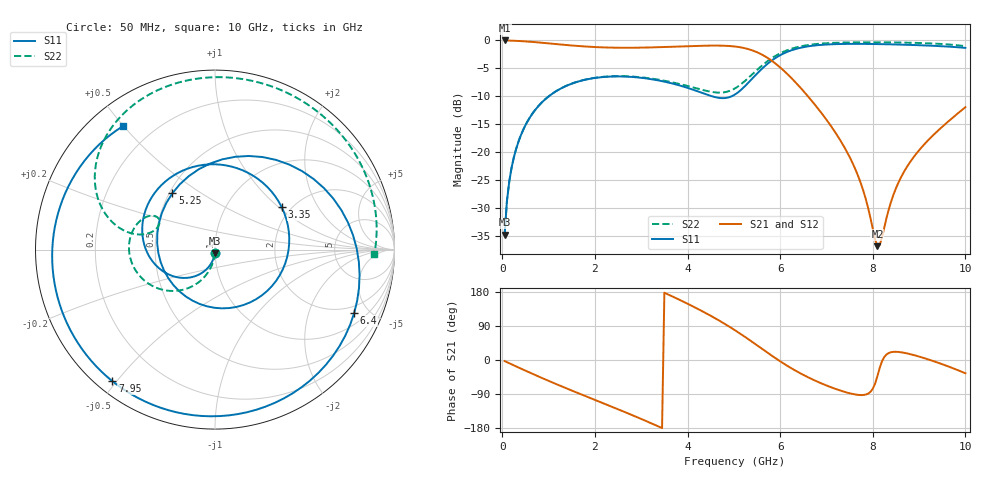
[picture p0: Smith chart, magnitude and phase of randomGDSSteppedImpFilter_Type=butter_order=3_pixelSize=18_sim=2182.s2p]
! freq	dB(S11)	phase(S11)	dB(S12)	phase(S12)
!  dB(S21)	phase(S21)	dB(S22)	phase(S22)
!S-par simulation data
#  GHz  S  DB  R 50
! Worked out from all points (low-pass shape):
!   200 points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, 50 MHz to 10 GHz, reference 50 ohm
!   highest |S21| = -0.01 dB at 50 MHz (marker M1); lowest = -36.8 dB at 8.1 GHz (marker M2)
!   |S21| within 3 dB of the highest: start of sweep to 5.705 GHz
!   lowest |S11| = -34.7 dB at 50 MHz (marker M3), VSWR 1.04, Z = 49.9 - j1.82 ohm
!   |S11| at or under -10 dB: start of sweep to 1.003 GHz; 4.534 GHz to 4.95 GHz (416.1 MHz wide, 8.77 % of centre)
!   |S22| runs from -34.7 to -0.3 dB; largest |S21 - S12| = 0
!   S11 on the Smith chart (normalised r, x): 50 MHz: 1.00, -0.04; 3.35 GHz: 1.79, +1.05; 5.25 GHz: 0.52, +0.39; 6.4 GHz: 1.57, -4.04; 7.95 GHz: 0.05, -0.49; 10 GHz: 0.10, +0.50
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0.05  -34.74 -93.4  -0.01 -2.9  -0.01 -2.9  -34.73 -92.2
0.2  -22.80 -104.1  -0.04 -11.4  -0.04 -11.4  -22.79 -99.3
0.5  -15.17 -124.6  -0.17 -28.1  -0.17 -28.1  -15.15 -112.7
1.1  -9.42 -164.4  -0.61 -60.2  -0.61 -60.2  -9.39 -137.3
1.75  -7.11 153.0  -1.06 -93.0  -1.06 -93.0  -7.08 -160.2
2.6  -6.45 93.8  -1.31 -135.1  -1.31 -135.1  -6.39 175.3
3.35  -7.12 32.4  -1.22 -174.2  -1.22 -174.2  -6.98 159.2
3.4  -7.20 27.9  -1.21 -177.0  -1.21 -177.0  -7.05 158.3
3.85  -8.10 -16.4  -1.08 157.5  -1.08 157.5  -7.83 152.3
4.35  -9.49 -76.3  -0.95 126.7  -0.95 126.7  -8.90 151.2
5.05  -9.53 164.3  -1.12 76.5  -1.12 76.5  -8.45 165.9
5.25  -8.10 127.1  -1.42 60.2  -1.42 60.2  -7.18 168.9
5.75  -4.03 48.9  -3.24 17.3  -3.24 17.3  -3.57 160.5
6.1  -2.23 5.9  -5.57 -11.2  -5.57 -11.2  -1.92 146.5
6.4  -1.39 -24.5  -8.10 -32.8  -8.10 -32.8  -1.14 133.5
6.7  -0.95 -50.1  -10.98 -51.3  -10.98 -51.3  -0.72 121.2
7.25  -0.65 -88.4  -17.21 -78.6  -17.21 -78.6  -0.40 100.3
7.95  -0.63 -127.9  -31.76 -84.1  -31.76 -84.1  -0.33 75.7
8.1  -0.65 -135.7  -36.80 -42.6  -36.80 -42.6  -0.33 70.5
8.35  -0.69 -148.3  -30.09 18.7  -30.09 18.7  -0.35 61.9
9.2  -0.92 169.4  -17.81 1.5  -17.81 1.5  -0.51 31.3
10  -1.33 126.6  -11.93 -35.1  -11.93 -35.1  -1.03 -1.6
